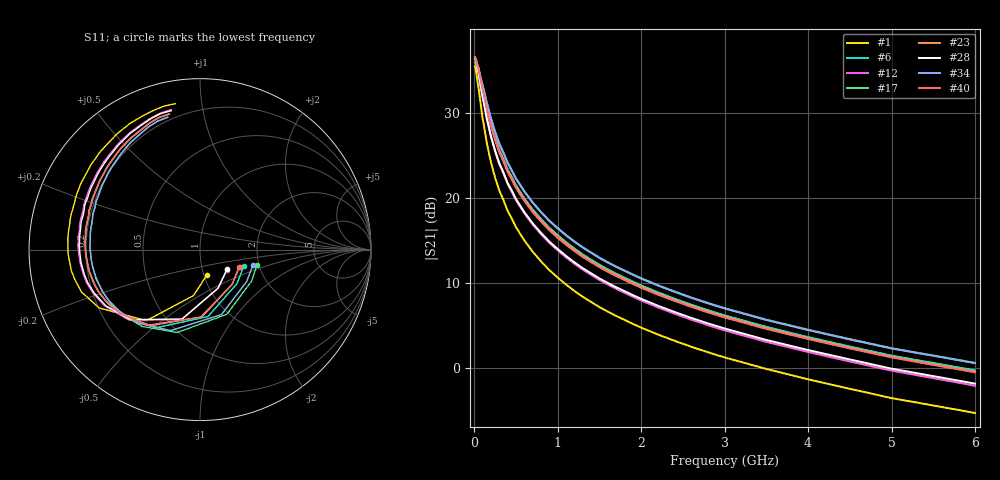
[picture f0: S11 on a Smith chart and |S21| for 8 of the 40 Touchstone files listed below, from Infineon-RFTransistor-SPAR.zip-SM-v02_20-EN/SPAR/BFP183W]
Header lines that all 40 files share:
! Infineon Technologies  Discrete & RF Semiconductors
! BFP183W
! Common Emitter S-Parameters:  Jan 2017
# GHz  S  MA  R  50
!  f  S11  S21  S12  S22
! GHz  MAG  ANG  MAG  ANG  MAG  ANG  MAG  ANG
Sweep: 10 MHz to 6 GHz
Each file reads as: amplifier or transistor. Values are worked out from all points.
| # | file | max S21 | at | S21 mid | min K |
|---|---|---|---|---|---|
| 1 | BFP183W_VCE_3.0V_IC_63mA.s2p | 35.6 dB | 10 MHz | 3.9 dB at 2.2 GHz | 0.48 |
| 2 | BFP183W_VCE_3.0V_IC_65mA.s2p | 35.5 dB | 10 MHz | 3.6 dB at 2.2 GHz | 0.48 |
| 3 | BFP183W_VCE_4.0V_IC_37mA.s2p | 36.0 dB | 10 MHz | 9.4 dB at 2.2 GHz | 0.15 |
| 4 | BFP183W_VCE_4.0V_IC_39mA.s2p | 36.2 dB | 10 MHz | 9.3 dB at 2.2 GHz | 0.20 |
| 5 | BFP183W_VCE_4.0V_IC_40mA.s2p | 36.2 dB | 10 MHz | 9.2 dB at 2.2 GHz | 0.18 |
| 6 | BFP183W_VCE_4.0V_IC_43mA.s2p | 36.4 dB | 10 MHz | 8.9 dB at 2.2 GHz | 0.22 |
| 7 | BFP183W_VCE_4.0V_IC_45mA.s2p | 36.5 dB | 10 MHz | 8.7 dB at 2.2 GHz | 0.24 |
| 8 | BFP183W_VCE_4.0V_IC_48mA.s2p | 36.5 dB | 10 MHz | 8.3 dB at 2.2 GHz | 0.25 |
| 9 | BFP183W_VCE_4.0V_IC_50mA.s2p | 36.5 dB | 10 MHz | 8.0 dB at 2.2 GHz | 0.27 |
| 10 | BFP183W_VCE_4.0V_IC_52mA.s2p | 36.5 dB | 10 MHz | 7.7 dB at 2.2 GHz | 0.29 |
| 11 | BFP183W_VCE_4.0V_IC_54mA.s2p | 36.5 dB | 10 MHz | 7.3 dB at 2.2 GHz | 0.31 |
| 12 | BFP183W_VCE_4.0V_IC_55mA.s2p | 36.4 dB | 10 MHz | 7.1 dB at 2.2 GHz | 0.34 |
| 13 | BFP183W_VCE_4.0V_IC_59mA.s2p | 36.3 dB | 10 MHz | 6.4 dB at 2.2 GHz | 0.39 |
| 14 | BFP183W_VCE_4.0V_IC_60mA.s2p | 36.2 dB | 10 MHz | 6.2 dB at 2.2 GHz | 0.38 |
| 15 | BFP183W_VCE_4.0V_IC_63mA.s2p | 36.1 dB | 10 MHz | 5.7 dB at 2.2 GHz | 0.41 |
| 16 | BFP183W_VCE_4.0V_IC_65mA.s2p | 36.0 dB | 10 MHz | 5.3 dB at 2.2 GHz | 0.43 |
| 17 | BFP183W_VCE_5.0V_IC_37mA.s2p | 36.0 dB | 10 MHz | 9.8 dB at 2.2 GHz | 0.18 |
| 18 | BFP183W_VCE_5.0V_IC_39mA.s2p | 36.2 dB | 10 MHz | 9.7 dB at 2.2 GHz | 0.13 |
| 19 | BFP183W_VCE_5.0V_IC_40mA.s2p | 36.2 dB | 10 MHz | 9.6 dB at 2.2 GHz | 0.18 |
| 20 | BFP183W_VCE_5.0V_IC_43mA.s2p | 36.4 dB | 10 MHz | 9.4 dB at 2.2 GHz | 0.17 |
| 21 | BFP183W_VCE_5.0V_IC_45mA.s2p | 36.5 dB | 10 MHz | 9.3 dB at 2.2 GHz | 0.21 |
| 22 | BFP183W_VCE_5.0V_IC_48mA.s2p | 36.6 dB | 10 MHz | 9.0 dB at 2.2 GHz | 0.24 |
| 23 | BFP183W_VCE_5.0V_IC_50mA.s2p | 36.6 dB | 10 MHz | 8.8 dB at 2.2 GHz | 0.23 |
| 24 | BFP183W_VCE_5.0V_IC_52mA.s2p | 36.6 dB | 10 MHz | 8.5 dB at 2.2 GHz | 0.25 |
| 25 | BFP183W_VCE_5.0V_IC_54mA.s2p | 36.6 dB | 10 MHz | 8.2 dB at 2.2 GHz | 0.27 |
| 26 | BFP183W_VCE_5.0V_IC_55mA.s2p | 36.6 dB | 10 MHz | 8.1 dB at 2.2 GHz | 0.27 |
| 27 | BFP183W_VCE_5.0V_IC_59mA.s2p | 36.5 dB | 10 MHz | 7.5 dB at 2.2 GHz | 0.31 |
| 28 | BFP183W_VCE_5.0V_IC_60mA.s2p | 36.5 dB | 10 MHz | 7.3 dB at 2.2 GHz | 0.33 |
| 29 | BFP183W_VCE_5.0V_IC_63mA.s2p | 36.3 dB | 10 MHz | 6.8 dB at 2.2 GHz | 0.35 |
| 30 | BFP183W_VCE_5.0V_IC_65mA.s2p | 36.2 dB | 10 MHz | 6.5 dB at 2.2 GHz | 0.38 |
| 31 | BFP183W_VCE_6.0V_IC_37mA.s2p | 36.0 dB | 10 MHz | 10.0 dB at 2.2 GHz | 0.15 |
| 32 | BFP183W_VCE_6.0V_IC_39mA.s2p | 36.1 dB | 10 MHz | 9.9 dB at 2.2 GHz | 0.17 |
| 33 | BFP183W_VCE_6.0V_IC_40mA.s2p | 36.2 dB | 10 MHz | 9.9 dB at 2.2 GHz | 0.19 |
| 34 | BFP183W_VCE_6.0V_IC_43mA.s2p | 36.4 dB | 10 MHz | 9.7 dB at 2.2 GHz | 0.18 |
| 35 | BFP183W_VCE_6.0V_IC_45mA.s2p | 36.5 dB | 10 MHz | 9.6 dB at 2.2 GHz | 0.17 |
| 36 | BFP183W_VCE_6.0V_IC_48mA.s2p | 36.6 dB | 10 MHz | 9.4 dB at 2.2 GHz | 0.21 |
| 37 | BFP183W_VCE_6.0V_IC_50mA.s2p | 36.6 dB | 10 MHz | 9.2 dB at 2.2 GHz | 0.24 |
| 38 | BFP183W_VCE_6.0V_IC_52mA.s2p | 36.6 dB | 10 MHz | 9.0 dB at 2.2 GHz | 0.23 |
| 39 | BFP183W_VCE_6.0V_IC_54mA.s2p | 36.6 dB | 10 MHz | 8.8 dB at 2.2 GHz | 0.25 |
| 40 | BFP183W_VCE_6.0V_IC_55mA.s2p | 36.6 dB | 10 MHz | 8.6 dB at 2.2 GHz | 0.26 |

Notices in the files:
Hoja de datos/BFP 450/Infineon-RFTransistor-SPAR.zip-SM-v02_20-EN/SPAR/BFP183W/BFP183W_VCE_3.0V_IC_63mA.s2p:
(c) 2017  Infineon Technologies AG, Munich
